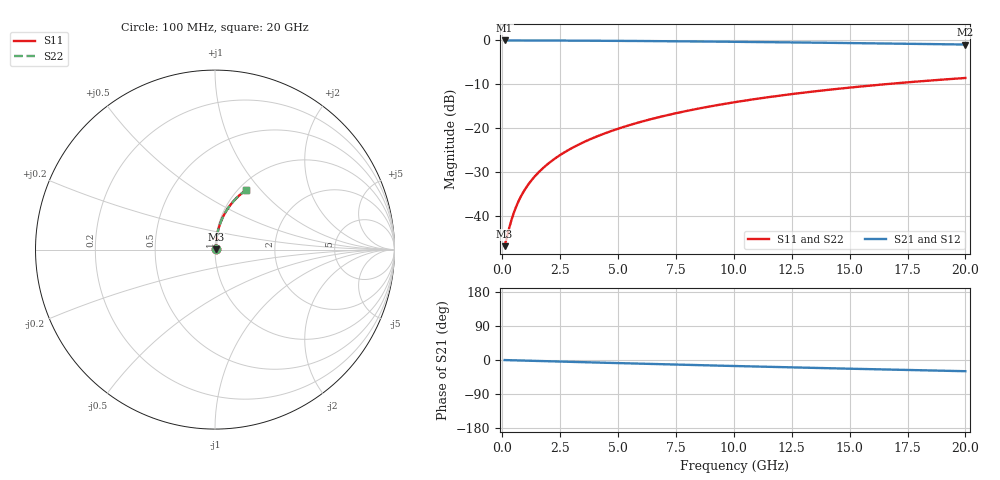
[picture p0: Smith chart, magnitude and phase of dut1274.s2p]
! Touchstone file exported from HFSS 2024.1.0
!  File:  C:/UserFiles/LocalFiles/RDL_TSV_Batchsim/temp_RDL_top_1274_1780242293.aedt
!  Generated:  11:47:09 PM May 31, 2026
!  Design:  RDL_top
!  Project:  temp_RDL_top_1274_1780242293
!  Setup:  Setup1
!  Solution:  Sweep
! Variables:
!  dtsv = 10.80580581um
!  hbump = 3um
!  htsv = 73.43um
!  ldown = 100um
!  lrdl = 319.67um
!  p = 40
!  p1 = 53.93um
!  rhole = 1um
!  t = 450um
!  tdown = 3.915915916um
!  trdl = 2.25um
!  wdown = 15.38538539um
!  wrdl = 12.98um
# GHz S MA R 50.000000
! Terminal data exported
! Port[1] = Box2_T1
! Port[2] = Box2_T2
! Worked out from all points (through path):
!   200 points, 100 MHz to 20 GHz, reference 50 ohm
!   highest |S21| = -0.04 dB at 100 MHz (marker M1); lowest = -1.0 dB at 20 GHz (marker M2)
!   group delay of S21, straight-line fit = 4.11 ps
!   lowest |S11| = -46.8 dB at 100 MHz (marker M3), VSWR 1.01, Z = 50.4 + j0.206 ohm
!   |S11| at or under -10 dB: start of sweep to 16.51 GHz
!   |S22| runs from -46.8 to -8.6 dB; largest |S21 - S12| = 3.1e-15
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0.1  0.004575 26.6  0.9959 -0.2  0.9959 -0.2  0.004575 26.6
! Gamma 0 0 0 0
! Port Impedance 50 0 50 0
0.3  0.007387 55.8  0.9958 -0.5  0.9958 -0.5  0.007389 55.8
0.4  0.009151 62.6  0.9957 -0.7  0.9957 -0.7  0.009154 62.6
0.5  0.011 67.0  0.9956 -0.8  0.9956 -0.8  0.011 67.0
0.6  0.01289 70.1  0.9955 -1.0  0.9955 -1.0  0.01289 70.1
0.7  0.0148 72.3  0.9954 -1.2  0.9954 -1.2  0.01481 72.3
0.9  0.01866 75.4  0.9952 -1.5  0.9952 -1.5  0.01866 75.3
1.2  0.02446 77.9  0.9948 -2.0  0.9948 -2.0  0.02446 77.9
1.4  0.02833 79.0  0.9945 -2.3  0.9945 -2.3  0.02834 79.0
1.7  0.03415 80.1  0.9941 -2.8  0.9941 -2.8  0.03415 80.1
2.2  0.04386 81.2  0.9932 -3.6  0.9932 -3.6  0.04386 81.2
2.8  0.05556 81.7  0.992 -4.6  0.992 -4.6  0.05556 81.7
3.5  0.06928 81.8  0.9902 -5.8  0.9902 -5.8  0.06928 81.8
4.2  0.08307 81.6  0.9882 -6.9  0.9882 -6.9  0.08307 81.6
5  0.09888 81.1  0.9855 -8.2  0.9855 -8.2  0.09888 81.1
5.9  0.1167 80.4  0.982 -9.6  0.982 -9.6  0.1167 80.4
6.8  0.1345 79.5  0.9782 -11.0  0.9782 -11.0  0.1345 79.5
8.3  0.1641 77.8  0.971 -13.3  0.971 -13.3  0.1641 77.8
10.1  0.1992 75.5  0.9613 -16.0  0.9613 -16.0  0.1992 75.5
13.4  0.2613 71.1  0.9412 -20.7  0.9412 -20.7  0.2612 71.1
16.7  0.3195 66.7  0.9188 -25.3  0.9188 -25.3  0.3195 66.7
20  0.3731 62.4  0.895 -29.6  0.895 -29.6  0.3731 62.4
